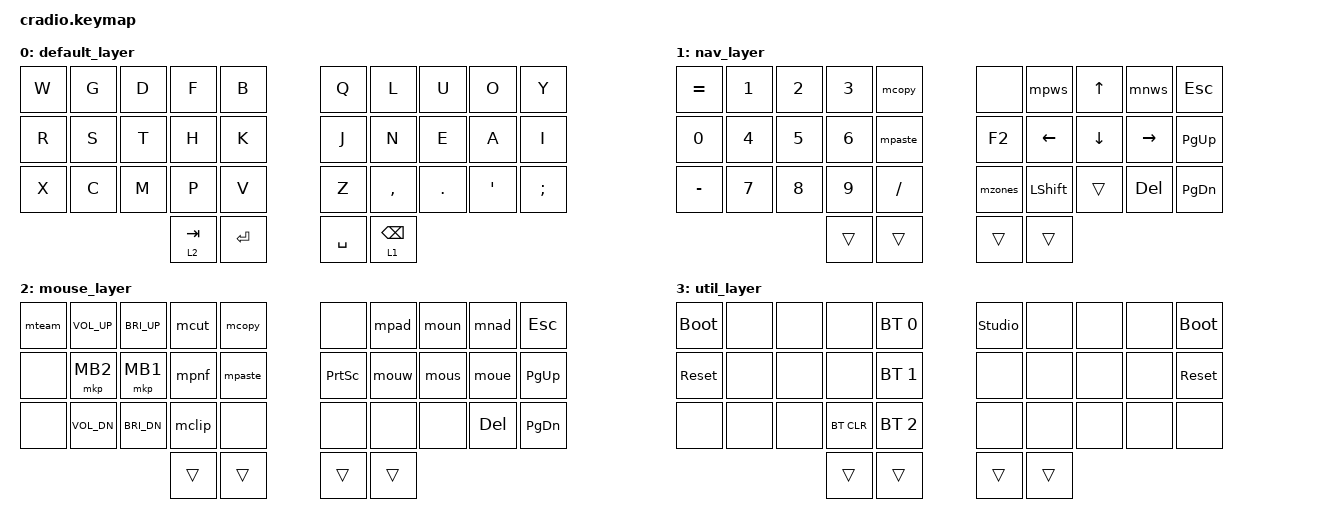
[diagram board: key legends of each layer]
// Copyright (c) 2022 The ZMK Contributors
// SPDX-License-Identifier: MIT

#include <dt-bindings/zmk/reset.h>

#define ZMK_POINTING_DEFAULT_MOVE_VAL 900  // default: 600
#define ZMK_POINTING_DEFAULT_SCRL_VAL 10   // default: 10

#include <behaviors.dtsi>
#include <dt-bindings/zmk/bt.h>
#include <dt-bindings/zmk/keys.h>
#include <dt-bindings/zmk/pointing.h>

/ {
    combos {
        compatible = "zmk,combos";

        combo_lss {
            timeout-ms = <50>;
            key-positions = <10 11>;
            bindings = <&sk LSHFT>;
            layers = <0>;
        };

        combo_las {
            timeout-ms = <50>;
            key-positions = <11 12>;
            bindings = <&sk LALT>;
            layers = <0>;
        };

        combo_lcs {
            timeout-ms = <50>;
            key-positions = <12 13>;
            bindings = <&sk LCTRL>;
            layers = <0>;
        };

        combo_lgs {
            timeout-ms = <50>;
            key-positions = <22 23>;
            bindings = <&sk LGUI>;
            layers = <0>;
        };

        combo_rss {
            timeout-ms = <50>;
            key-positions = <19 18>;
            bindings = <&sk RSHFT>;
            layers = <0>;
        };

        combo_ras {
            timeout-ms = <50>;
            key-positions = <18 17>;
            bindings = <&sk RALT>;
            layers = <0>;
        };

        combo_rcs {
            timeout-ms = <50>;
            key-positions = <17 16>;
            bindings = <&sk RCTRL>;
            layers = <0>;
        };

        combo_rgs {
            timeout-ms = <50>;
            key-positions = <26 27>;
            bindings = <&sk RGUI>;
            layers = <0>;
        };

        combo_esc {
            timeout-ms = <50>;
            key-positions = <7 8>;
            bindings = <&kp ESC>;
            layers = <0>;
        };

        combo_ls {
            timeout-ms = <50>;
            key-positions = <10 11>;
            bindings = <&kp LSHFT>;
            layers = <1 2>;
        };

        combo_la {
            timeout-ms = <50>;
            key-positions = <11 12>;
            bindings = <&kp LALT>;
            layers = <1 2>;
        };

        combo_lc {
            timeout-ms = <50>;
            key-positions = <12 13>;
            bindings = <&kp LCTRL>;
            layers = <1 2>;
        };

        combo_lg {
            timeout-ms = <50>;
            key-positions = <22 23>;
            bindings = <&kp LGUI>;
            layers = <1 2>;
        };

        combo_short {
            timeout-ms = <50>;
            key-positions = <31 32>;
            bindings = <&mshort>;
            layers = <0>;
        };
    };

    macros {
        mcut: mcut {
            compatible = "zmk,behavior-macro";
            #binding-cells = <0>;
            bindings =
                <&macro_press>,
                <&kp LCTRL>,
                <&macro_tap>,
                <&kp X>,
                <&macro_release>,
                <&kp LCTRL>;
        };

        mcopy: mcopy {
            compatible = "zmk,behavior-macro";
            #binding-cells = <0>;
            bindings =
                <&macro_press>,
                <&kp LCTRL>,
                <&macro_tap>,
                <&kp C>,
                <&macro_release>,
                <&kp LCTRL>;
        };

        mpaste: mpaste {
            compatible = "zmk,behavior-macro";
            #binding-cells = <0>;
            bindings =
                <&macro_press>,
                <&kp LCTRL>,
                <&macro_tap>,
                <&kp V>,
                <&macro_release>,
                <&kp LCTRL>;
        };

        mpnf: mpnf {
            compatible = "zmk,behavior-macro";
            #binding-cells = <0>;
            bindings =
                <&macro_press>,
                <&kp LCTRL &kp LSHFT>,
                <&macro_tap>,
                <&kp V>,
                <&macro_release>,
                <&kp LCTRL &kp LSHFT>;
        };

        mclip: mclip {
            compatible = "zmk,behavior-macro";
            #binding-cells = <0>;
            bindings =
                <&macro_press>,
                <&kp LGUI>,
                <&macro_tap>,
                <&kp V>,
                <&macro_release>,
                <&kp LGUI>;
        };

        mzones: mzones {
            compatible = "zmk,behavior-macro";
            #binding-cells = <0>;
            bindings =
                <&macro_press>,
                <&kp LGUI &kp LCTRL &kp LALT>,
                <&macro_pause_for_release>,
                <&macro_release>,
                <&kp LGUI &kp LCTRL &kp LALT>;
        };

        mpws: mpws {
            compatible = "zmk,behavior-macro";
            #binding-cells = <0>;
            bindings =
                <&macro_press>,
                <&kp LCTRL>,
                <&macro_tap>,
                <&kp PG_UP>,
                <&macro_release>,
                <&kp LCTRL>;
        };

        mnws: mnws {
            compatible = "zmk,behavior-macro";
            #binding-cells = <0>;
            bindings =
                <&macro_press>,
                <&kp LCTRL>,
                <&macro_tap>,
                <&kp PG_DN>,
                <&macro_release>,
                <&kp LCTRL>;
        };

        mpad: mpad {
            compatible = "zmk,behavior-macro";
            #binding-cells = <0>;
            bindings =
                <&macro_press>,
                <&kp LCTRL &kp LSHFT>,
                <&macro_tap>,
                <&kp TAB>,
                <&macro_release>,
                <&kp LCTRL &kp LSHFT>;
        };

        mnad: mnad {
            compatible = "zmk,behavior-macro";
            #binding-cells = <0>;
            bindings =
                <&macro_press>,
                <&kp LCTRL>,
                <&macro_tap>,
                <&kp TAB>,
                <&macro_release>,
                <&kp LCTRL>;
        };

        mescw: mescw {
            compatible = "zmk,behavior-macro";
            #binding-cells = <0>;
            bindings =
                <&macro_press>,
                <&kp LALT>,
                <&macro_tap>,
                <&kp F4>,
                <&macro_release>,
                <&kp LALT>;
        };

        mteam: mteam {
            compatible = "zmk,behavior-macro";
            #binding-cells = <0>;
            bindings =
                <&macro_press>,
                <&kp LCTRL &kp LSHFT>,
                <&macro_tap>,
                <&kp M>,
                <&macro_release>,
                <&kp LCTRL &kp LSHFT>;
        };

        mshort: mshort {
            compatible = "zmk,behavior-macro";
            #binding-cells = <0>;
            bindings =
                <&macro_press>,
                <&kp LGUI &kp RGUI &kp LCTRL &kp RCTRL &kp LALT &kp RALT &kp LSHFT &kp RSHFT>,
                <&macro_pause_for_release>,
                <&macro_release>,
                <&kp LGUI &kp RGUI &kp LCTRL &kp RCTRL &kp LALT &kp RALT &kp LSHFT &kp RSHFT>;
        };

    };



    behaviors {
        moun: mouse_north {
            compatible = "zmk,behavior-mod-morph";
            #binding-cells = <0>;
            bindings = <&mmv MOVE_UP>, <&msc SCRL_UP>;

            mods = <(MOD_LSFT)>;
        };

        mous: mouse_south {
            compatible = "zmk,behavior-mod-morph";
            #binding-cells = <0>;
            bindings = <&mmv MOVE_DOWN>, <&msc SCRL_DOWN>;

            mods = <(MOD_LSFT)>;
        };

        moue: mouse_east {
            compatible = "zmk,behavior-mod-morph";
            #binding-cells = <0>;
            bindings = <&mmv MOVE_RIGHT>, <&msc SCRL_RIGHT>;

            mods = <(MOD_LSFT)>;
        };

        mouw: mouse_west {
            compatible = "zmk,behavior-mod-morph";
            #binding-cells = <0>;
            bindings = <&mmv MOVE_LEFT>, <&msc SCRL_LEFT>;

            mods = <(MOD_LSFT)>;
        };

        escw: espcape_window {
            compatible = "zmk,behavior-mod-morph";
            #binding-cells = <0>;
            bindings = <&kp ESC>, <&mescw>;

            mods = <(MOD_LSFT)>;
        };
    };

    conditional_layers {
        compatible = "zmk,conditional-layers";

        tri_layer {
            if-layers = <1 2>;
            then-layer = <3>;
        };
    };

    keymap {
        compatible = "zmk,keymap";

        default_layer {
            bindings = <
&kp W  &kp G  &kp D  &kp F      &kp B        &kp Q      &kp L       &kp U    &kp O    &kp Y
&kp R  &kp S  &kp T  &kp H      &kp K        &kp J      &kp N       &kp E    &kp A    &kp I
&kp X  &kp C  &kp M  &kp P      &kp V        &kp Z      &kp COMMA   &kp DOT  &kp SQT  &kp SEMI
                     &lt 2 TAB  &kp ENTER    &kp SPACE  &lt 1 BSPC
            >;
        };

        nav_layer {
            bindings = <
&kp EQUAL  &kp N1  &kp N2  &kp N3  &mcopy      &none     &mpws      &kp UP    &mnws      &kp ESC
&kp N0     &kp N4  &kp N5  &kp N6  &mpaste     &kp F2    &kp LEFT   &kp DOWN  &kp RIGHT  &kp PG_UP
&kp MINUS  &kp N7  &kp N8  &kp N9  &kp FSLH    &mzones   &kp LSHFT  &trans    &kp DEL    &kp PG_DN
                           &trans  &trans      &trans    &trans
            >;
        };

        mouse_layer {
            bindings = <
&mteam &kp C_VOL_UP  &kp C_BRI_UP  &mcut   &mcopy     &none      &mpad   &moun  &mnad    &kp ESC
&none  &mkp MB2      &mkp MB1      &mpnf   &mpaste    &kp PSCRN  &mouw   &mous  &moue    &kp PG_UP
&none  &kp C_VOL_DN  &kp C_BRI_DN  &mclip  &none      &none      &none   &none  &kp DEL  &kp PG_DN
                                   &trans  &trans     &trans     &trans
            >;
        };

        util_layer {
            bindings = <
&bootloader  &none  &none  &none       &bt BT_SEL 0    &studio_unlock  &none   &none  &none  &bootloader
&sys_reset   &none  &none  &none       &bt BT_SEL 1    &none           &none   &none  &none  &sys_reset
&none        &none  &none  &bt BT_CLR  &bt BT_SEL 2    &none           &none   &none  &none  &none
                    &trans &trans      &trans          &trans
            >;
        };
    };
};
